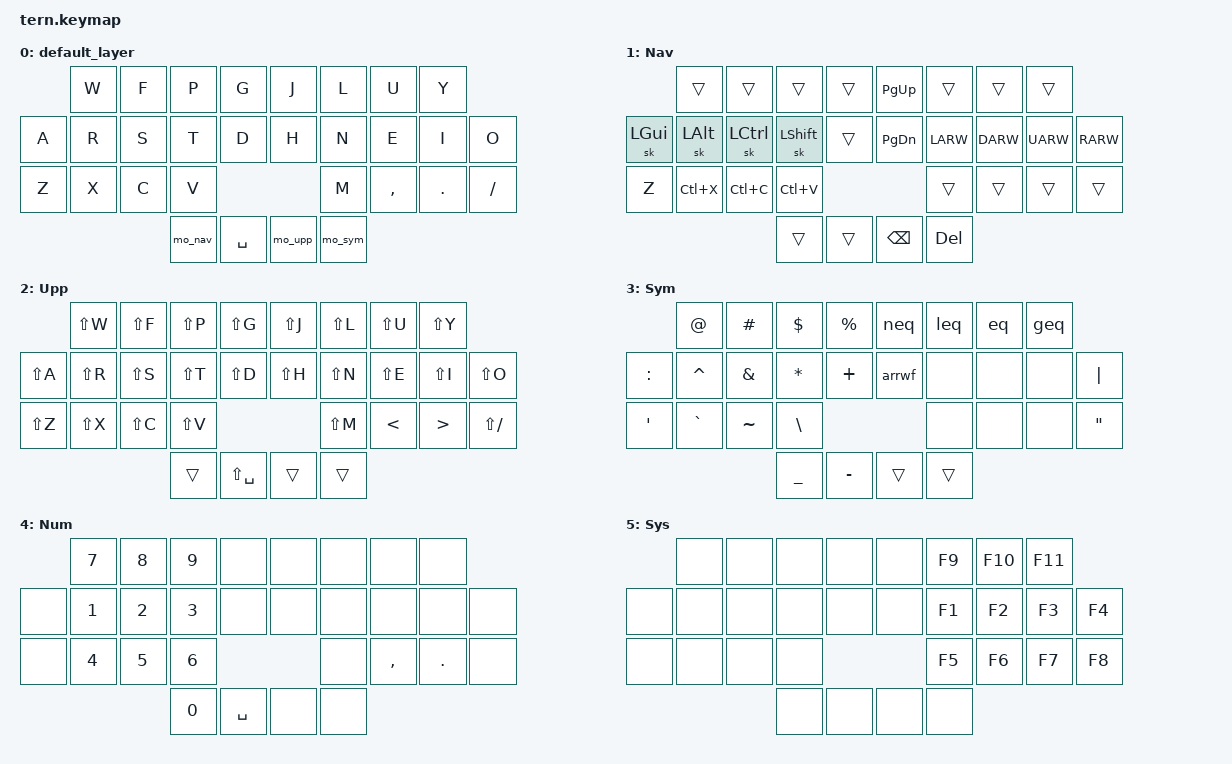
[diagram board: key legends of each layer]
/*
 * Copyright (c) 2020 The ZMK Contributors
 *
 * SPDX-License-Identifier: MIT
 */

#include <behaviors.dtsi>
#include <dt-bindings/zmk/keys.h>
#include <dt-bindings/zmk/outputs.h>

#define DEF_L 0
#define NAV_L 1
#define UPP_L 2
#define SYM_L 3
#define NUM_L 4
#define SYS_L 5

#define B0     BT_SEL 0
#define B1     BT_SEL 1
#define B2     BT_SEL 2
#define B3     BT_SEL 3
#define B4     BT_SEL 4
#define OTGL   out OUT_TOG

&caps_word {
  continue-list = <UNDERSCORE MINUS BACKSPACE>;
};

&sk {
  release-after-ms = <60000>;
};

/ {
    ZMK_MACRO(mo_nav,
        wait-ms = <0>;
        tap-ms = <0>;
        bindings
        = <&macro_tap &kp K_CANCEL>
        , <&macro_press &mo NAV_L>
        , <&macro_pause_for_release>
        , <&macro_release &mo NAV_L>;)

    ZMK_MACRO(mo_upp,
        wait-ms = <0>;
        tap-ms = <0>;
        bindings
        = <&macro_tap &kp K_CANCEL>
        , <&macro_press &mo UPP_L>
        , <&macro_pause_for_release>
        , <&macro_release &mo UPP_L>;)

    ZMK_MACRO(mo_sym,
        wait-ms = <0>;
        tap-ms = <0>;
        bindings
        = <&macro_tap &kp K_CANCEL>
        , <&macro_press &mo SYM_L>
        , <&macro_pause_for_release>
        , <&macro_release &mo SYM_L>;)

    ZMK_MACRO(mo_sys,
        wait-ms = <0>;
        tap-ms = <0>;
        bindings
        = <&macro_tap &kp K_CANCEL>
        , <&macro_press &mo SYS_L>
        , <&macro_pause_for_release>
        , <&macro_release &mo SYS_L>;)

    ZMK_MACRO(leq,
        wait-ms = <30>;
        tap-ms = <40>;
        bindings = <&kp LT &kp EQUAL>;)

    ZMK_MACRO(eq,
        wait-ms = <30>;
        tap-ms = <40>;
        bindings = <&kp EQUAL &kp EQUAL>;)

    ZMK_MACRO(geq,
        wait-ms = <30>;
        tap-ms = <40>;
        bindings = <&kp GT &kp EQUAL>;)

    ZMK_MACRO(neq,
        wait-ms = <30>;
        tap-ms = <40>;
        bindings = <&kp EXCL &kp EQUAL>;)

    ZMK_MACRO(arrwf,
        wait-ms = <30>;
        tap-ms = <40>;
        bindings = <&kp EQUAL &kp GT>;)

    ZMK_MACRO(wclip,
        wait-ms = <30>;
        tap-ms = <40>;
        bindings 
        = <&macro_press &kp LGUI>
        , <&macro_press &kp LSHFT>
        , <&macro_press &kp S>
        , <&macro_release &kp LGUI &kp LSHFT &kp S>;)
        
    combos {
        compatible = "zmk,combos";

        #define COMBO(NAME, BINDINGS, KEYPOS, LAYERS) \
          combo_##NAME { \
            bindings = <BINDINGS>; \
            key-positions = <KEYPOS>; \
            layers = <LAYERS>; \
          };
        /*                KEY POSITIONS

          ╭────────────────────╮ ╭────────────────────╮
          │      0   1   2   3 | |  4   5   6   7     │
          │  8   9  10  11  12 │ │ 13  14  15  16  17 │
          │ 18  19  20  21     │ │     22  23  24  25 │
          ╰───────────╮ 26  27 │ │ 28  89 ╭───────────╯
                      ╰────────╯ ╰────────╯            */
        // Letters
        COMBO(lower_q, &kp Q, 0 1, DEF_L)
        COMBO(upper_q, &kp LS(Q), 0 1, UPP_L)

        COMBO(lower_b, &kp B, 20 21, DEF_L)
        COMBO(upper_b, &kp LS(B), 20 21, UPP_L)

        COMBO(lower_k, &kp K, 22 23, DEF_L)
        COMBO(upper_k, &kp LS(K), 22 23, UPP_L)

        COMBO(excl, &kp EXCL, 0 1, SYM_L)
        COMBO(s_eql, &kp EQUAL, 20 21, SYM_L)
        
        COMBO(lower_semi, &kp SEMI, 6 7, DEF_L)
        COMBO(upper_semi, &kp LS(SEMI), 6 7, UPP_L)
        
        COMBO(f_twelve, &kp F12, 6 7, SYS_L)
        
        // Brackets
        COMBO(left_bracket, &kp LBKT, 0 9, DEF_L UPP_L SYM_L NUM_L)
        COMBO(right_bracket, &kp RBKT, 7 16, DEF_L UPP_L SYM_L NUM_L)
        COMBO(left_parenthesis, &kp LPAR, 1 10, DEF_L UPP_L SYM_L NUM_L)
        COMBO(right_parenthesis, &kp RPAR, 6 15, DEF_L UPP_L SYM_L NUM_L)
        COMBO(left_brace, &kp LBRC, 2 11, DEF_L UPP_L SYM_L NUM_L)
        COMBO(right_brace, &kp RBRC, 5 14, DEF_L UPP_L SYM_L NUM_L)

        // Convenience
        COMBO(esc, &kp ESC, 1 2, DEF_L)
        COMBO(ent, &kp ENTER, 15 16, DEF_L)
        COMBO(tab, &kp TAB, 11 12, DEF_L)
        COMBO(w_clip, &wclip, 9 10 11, DEF_L)

        COMBO(sys_l, &mo_sys, 28 29, NUM_L)
    };

    conditional_layers {
        compatible = "zmk,conditional-layers";
        tri_layer {
            if-layers = <UPP_L SYM_L>;
            then-layer = <NUM_L>;
        };
    };

    keymap {
        compatible = "zmk,keymap";

        default_layer {
            bindings = <
        // ╭─────────────┬─────────────┬─────────────┬─────────────┬─────────────╮   ╭─────────────┬─────────────┬─────────────┬─────────────┬─────────────╮
                           &kp W         &kp F         &kp P         &kp G             &kp J         &kp L         &kp U         &kp Y
             &kp A         &kp R         &kp S         &kp T         &kp D             &kp H         &kp N         &kp E         &kp I         &kp O
             &kp Z         &kp X         &kp C         &kp V                                         &kp M         &kp COMMA     &kp DOT       &kp FSLH
        // ╰─────────────┴─────────────┴─────────────╮                                                           ╭─────────────┴─────────────┴─────────────╯
                                                       &mo_nav       &kp SPACE         &mo_upp       &mo_sym
        //                                           ╰─────────────┴─────────────╯   ╰─────────────┴─────────────╯
            >;
        };

        nav_layer {
            label = "Nav";
            bindings = <
        // ╭─────────────┬─────────────┬─────────────┬─────────────┬─────────────╮   ╭─────────────┬─────────────┬─────────────┬─────────────┬─────────────╮
                           &trans        &trans        &trans        &trans            &kp PG_UP     &trans        &trans        &trans
             &sk LGUI      &sk LALT      &sk LCTRL     &sk LSHFT     &trans            &kp PG_DN     &kp LARW      &kp DARW      &kp UARW      &kp RARW
             &kp Z         &kp LC(X)     &kp LC(C)     &kp LC(V)                                     &trans        &trans        &trans        &trans
        // ╰─────────────┴─────────────┴─────────────╮                                                           ╭─────────────┴─────────────┴─────────────╯
                                                       &trans        &trans            &kp BSPC      &kp DEL
        //                                           ╰─────────────┴─────────────╯   ╰─────────────┴─────────────╯
            >;
        };

        upper_layer {
            label = "Upp";
            bindings = <
        // ╭─────────────┬─────────────┬─────────────┬─────────────┬─────────────╮   ╭─────────────┬─────────────┬─────────────┬─────────────┬─────────────╮
                           &kp LS(W)     &kp LS(F)     &kp LS(P)     &kp LS(G)         &kp LS(J)     &kp LS(L)     &kp LS(U)     &kp LS(Y)
             &kp LS(A)     &kp LS(R)     &kp LS(S)     &kp LS(T)     &kp LS(D)         &kp LS(H)     &kp LS(N)     &kp LS(E)     &kp LS(I)     &kp LS(O)
             &kp LS(Z)     &kp LS(X)     &kp LS(C)     &kp LS(V)                                     &kp LS(M)     &kp LT        &kp GT        &kp LS(FSLH)
        // ╰─────────────┴─────────────┴─────────────╮                                                           ╭─────────────┴─────────────┴─────────────╯
                                                       &trans        &kp LS(SPACE)     &trans        &trans
        //                                           ╰─────────────┴─────────────╯   ╰─────────────┴─────────────╯
            >;
        };

        sym_layer {
            label = "Sym";
            bindings = <
        // ╭─────────────┬─────────────┬─────────────┬─────────────┬─────────────╮   ╭─────────────┬─────────────┬─────────────┬─────────────┬─────────────╮
                           &kp AT        &kp HASH      &kp DLLR      &kp PRCNT         &neq          &leq          &eq           &geq
             &kp COLON     &kp CARET     &kp AMPS      &kp STAR      &kp PLUS          &arrwf        &none         &none         &none         &kp PIPE
             &kp SQT       &kp GRAVE     &kp TILDE     &kp BSLH                                      &none         &none         &none         &kp DQT
        // ╰─────────────┴─────────────┴─────────────╮                                                           ╭─────────────┴─────────────┴─────────────╯
                                                       &kp UNDER     &kp MINUS         &trans        &trans
        //                                           ╰─────────────┴─────────────╯   ╰─────────────┴─────────────╯
            >;
        };
        
        num_layer {
            label = "Num";
            bindings = <
        // ╭─────────────┬─────────────┬─────────────┬─────────────┬─────────────╮   ╭─────────────┬─────────────┬─────────────┬─────────────┬─────────────╮
                           &kp N7        &kp N8        &kp N9        &none             &none         &none         &none         &none
             &none         &kp N1        &kp N2        &kp N3        &none             &none         &none         &none         &none         &none
             &none         &kp N4        &kp N5        &kp N6                                        &none         &kp COMMA     &kp DOT       &none
        // ╰─────────────┴─────────────┴─────────────╮                                                           ╭─────────────┴─────────────┴─────────────╯
                                                       &kp N0        &kp SPACE         &none         &none
        //                                           ╰─────────────┴─────────────╯   ╰─────────────┴─────────────╯
            >;
        };
        
        sys_layer {
            label = "Sys";
            bindings = <
        // ╭─────────────┬─────────────┬─────────────┬─────────────┬─────────────╮   ╭─────────────┬─────────────┬─────────────┬─────────────┬─────────────╮
                           &none         &none         &none         &none             &none         &kp F9        &kp F10       &kp F11
             &none         &none         &none         &none         &none             &none         &kp F1        &kp F2        &kp F3        &kp F4 
             &none         &none         &none         &none                                         &kp F5        &kp F6        &kp F7        &kp F8 
        // ╰─────────────┴─────────────┴─────────────╮                                                           ╭─────────────┴─────────────┴─────────────╯
                                                       &none         &none             &none         &none
        //                                           ╰─────────────┴─────────────╯   ╰─────────────┴─────────────╯
            >;
        };
    };
};

/*
        _layer {
            label = "";
            bindings = <
        // ╭─────────────┬─────────────┬─────────────┬─────────────┬─────────────╮   ╭─────────────┬─────────────┬─────────────┬─────────────┬─────────────╮
                           &none         &none         &none         &none             &none         &kp F9        &kp F10       &kp F11
             &none         &none         &none         &none         &none             &none         &kp F1        &kp F2        &kp F3        &kp F4 
             &none         &none         &none         &none                                         &kp F5        &kp F6        &kp F7        &kp F8 
        // ╰─────────────┴─────────────┴─────────────╮                                                           ╭─────────────┴─────────────┴─────────────╯
                                                       &none         &none             &none         &none
        //                                           ╰─────────────┴─────────────╯   ╰─────────────┴─────────────╯
            >;
        };
*/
